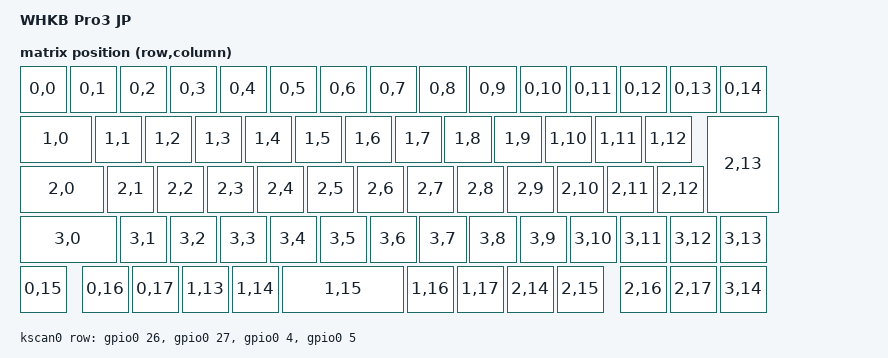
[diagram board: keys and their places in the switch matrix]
/*
 * Copyright (c) 2025 Stefan Sundin (4pplet)
 * SPDX-License-Identifier: MIT
 *
 * WHKB Pro3 JP variant - 69 keys
 *
 * NOTE: The matrix transform below is a PLACEHOLDER.
 * The actual RC(row, col) values need to be determined by probing the PCB
 * to find which row/column each key is connected to.
 *
 * The physical layout matches the HHKB JP layout from Pro2 JP.
 */

#include <dt-bindings/zmk/matrix_transform.h>
#include <physical_layouts.dtsi>

/ {
    model = "WHKB Pro3 JP";

    chosen {
        zmk,kscan = &kscan0;
        zmk,physical-layout = &physical_layout;
    };

    kscan0: kscan_0 {
        compatible = "zmk,kscan-topre-adc";
        status = "okay";

        /* Row drive pins - same as ANSI, JP uses same 4 rows */
        row-gpios = <&gpio0 26 GPIO_ACTIVE_HIGH>,   /* ROW0 */
                    <&gpio0 27 GPIO_ACTIVE_HIGH>,   /* ROW1 */
                    <&gpio0 4  GPIO_ACTIVE_HIGH>,   /* ROW2 */
                    <&gpio0 5  GPIO_ACTIVE_HIGH>;   /* ROW3 */

        /* Column select pins (address HC4051 muxes) */
        col-sel-gpios = <&gpio0 6  GPIO_ACTIVE_HIGH>,   /* COL_A */
                        <&gpio0 7  GPIO_ACTIVE_HIGH>,   /* COL_B */
                        <&gpio0 8  GPIO_ACTIVE_HIGH>;   /* COL_C */

        /* Mux enable pins - JP may need different mux configuration for extra keys */
        u1-en-gpios = <&gpio0 12 GPIO_ACTIVE_LOW>;  /* U1 enable (cols 0-7) */
        u2-en-gpios = <&gpio0 13 GPIO_ACTIVE_LOW>;  /* U2 enable (cols 8-14+) */

        /* OpAmp control */
        opamp-en-gpios = <&gpio0 14 GPIO_ACTIVE_HIGH>;
        discharge-gpios = <&gpio0 15 GPIO_ACTIVE_HIGH>;

        /* ADC sense input */
        io-channels = <&adc 0>;  /* AIN0 = P0.02 */

        /* Power control for switch board */
        power-gpios = <&gpio0 29 GPIO_ACTIVE_HIGH>;

        /* Sensing parameters */
        actuation-threshold-mv = <1000>;  /* mV threshold for key press */

        /* Timing parameters (microseconds) */
        row-drive-us = <20>;
        row-settle-us = <80>;
        opamp-settle-us = <22>;
        discharge-us = <7>;
    };

    /*
     * HHKB JP Layout - 69 keys
     * Matrix is 4 rows x 18 columns (or similar - needs PCB verification)
     *
     * TODO: Replace placeholder RC() values with actual matrix positions
     * determined by probing the Pro3 JP PCB.
     *
     * The placeholder below assumes a simple sequential layout which is
     * almost certainly WRONG. Each RC(row, col) must be mapped to the
     * actual physical connection on the PCB.
     */
    default_transform: keymap_transform_0 {
        compatible = "zmk,matrix-transform";
        columns = <18>;  /* JP has more columns than ANSI */
        rows = <4>;
        map = <
        /* Row 0: Esc  1    2    3    4    5    6    7    8    9    0    -    ^   Yen  Bksp (15 keys) */
        RC(0,0) RC(0,1) RC(0,2) RC(0,3) RC(0,4) RC(0,5) RC(0,6) RC(0,7) RC(0,8) RC(0,9) RC(0,10) RC(0,11) RC(0,12) RC(0,13) RC(0,14)
        /* Row 1: Tab  Q    W    E    R    T    Y    U    I    O    P    @    [ (13 keys, Enter spans rows) */
        RC(1,0) RC(1,1) RC(1,2) RC(1,3) RC(1,4) RC(1,5) RC(1,6) RC(1,7) RC(1,8) RC(1,9) RC(1,10) RC(1,11) RC(1,12)
        /* Row 2: Ctrl A    S    D    F    G    H    J    K    L    ;    :    ]   Enter (14 keys) */
        RC(2,0) RC(2,1) RC(2,2) RC(2,3) RC(2,4) RC(2,5) RC(2,6) RC(2,7) RC(2,8) RC(2,9) RC(2,10) RC(2,11) RC(2,12) RC(2,13)
        /* Row 3: Shift Z    X    C    V    B    N    M    ,    .    /    \   Shift Up (14 keys) */
        RC(3,0) RC(3,1) RC(3,2) RC(3,3) RC(3,4) RC(3,5) RC(3,6) RC(3,7) RC(3,8) RC(3,9) RC(3,10) RC(3,11) RC(3,12) RC(3,13)
        /* Row 4: Fn   Zen  Meta Mhen key  Space Henk Kana Meta Fn   Left Down Right (13 keys) */
        RC(0,15) RC(0,16) RC(0,17) RC(1,13) RC(1,14) RC(1,15) RC(1,16) RC(1,17) RC(2,14) RC(2,15) RC(2,16) RC(2,17) RC(3,14)
        >;
    };

    physical_layout: physical_layout_0 {
        compatible = "zmk,physical-layout";
        display-name = "HHKB JP";
        transform = <&default_transform>;
        keys = <
            /* Row 0: 15 keys (Esc through Backspace) */
            &key_physical_attrs 100 100 0   0   0 0 0
            &key_physical_attrs 100 100 100 0   0 0 0
            &key_physical_attrs 100 100 200 0   0 0 0
            &key_physical_attrs 100 100 300 0   0 0 0
            &key_physical_attrs 100 100 400 0   0 0 0
            &key_physical_attrs 100 100 500 0   0 0 0
            &key_physical_attrs 100 100 600 0   0 0 0
            &key_physical_attrs 100 100 700 0   0 0 0
            &key_physical_attrs 100 100 800 0   0 0 0
            &key_physical_attrs 100 100 900 0   0 0 0
            &key_physical_attrs 100 100 1000 0  0 0 0
            &key_physical_attrs 100 100 1100 0  0 0 0
            &key_physical_attrs 100 100 1200 0  0 0 0
            &key_physical_attrs 100 100 1300 0  0 0 0
            &key_physical_attrs 100 100 1400 0  0 0 0
            /* Row 1: 13 keys (Tab through [, Enter top is part of row 2) */
            &key_physical_attrs 150 100 0   100 0 0 0
            &key_physical_attrs 100 100 150 100 0 0 0
            &key_physical_attrs 100 100 250 100 0 0 0
            &key_physical_attrs 100 100 350 100 0 0 0
            &key_physical_attrs 100 100 450 100 0 0 0
            &key_physical_attrs 100 100 550 100 0 0 0
            &key_physical_attrs 100 100 650 100 0 0 0
            &key_physical_attrs 100 100 750 100 0 0 0
            &key_physical_attrs 100 100 850 100 0 0 0
            &key_physical_attrs 100 100 950 100 0 0 0
            &key_physical_attrs 100 100 1050 100 0 0 0
            &key_physical_attrs 100 100 1150 100 0 0 0
            &key_physical_attrs 100 100 1250 100 0 0 0
            /* Row 2: 14 keys (Ctrl through Enter - ISO-style vertical Enter) */
            &key_physical_attrs 175 100 0   200 0 0 0
            &key_physical_attrs 100 100 175 200 0 0 0
            &key_physical_attrs 100 100 275 200 0 0 0
            &key_physical_attrs 100 100 375 200 0 0 0
            &key_physical_attrs 100 100 475 200 0 0 0
            &key_physical_attrs 100 100 575 200 0 0 0
            &key_physical_attrs 100 100 675 200 0 0 0
            &key_physical_attrs 100 100 775 200 0 0 0
            &key_physical_attrs 100 100 875 200 0 0 0
            &key_physical_attrs 100 100 975 200 0 0 0
            &key_physical_attrs 100 100 1075 200 0 0 0
            &key_physical_attrs 100 100 1175 200 0 0 0
            &key_physical_attrs 100 100 1275 200 0 0 0
            &key_physical_attrs 150 200 1375 100 0 0 0
            /* Row 3: 14 keys (LShift 2u, 11 alpha keys, \, RShift, Up) */
            &key_physical_attrs 200 100 0    300 0 0 0   /* LShift w:2 */
            &key_physical_attrs 100 100 200  300 0 0 0   /* Z */
            &key_physical_attrs 100 100 300  300 0 0 0   /* X */
            &key_physical_attrs 100 100 400  300 0 0 0   /* C */
            &key_physical_attrs 100 100 500  300 0 0 0   /* V */
            &key_physical_attrs 100 100 600  300 0 0 0   /* B */
            &key_physical_attrs 100 100 700  300 0 0 0   /* N */
            &key_physical_attrs 100 100 800  300 0 0 0   /* M */
            &key_physical_attrs 100 100 900  300 0 0 0   /* , */
            &key_physical_attrs 100 100 1000 300 0 0 0   /* . */
            &key_physical_attrs 100 100 1100 300 0 0 0   /* / */
            &key_physical_attrs 100 100 1200 300 0 0 0   /* \ */
            &key_physical_attrs 100 100 1300 300 0 0 0   /* RShift */
            &key_physical_attrs 100 100 1400 300 0 0 0   /* Up arrow */
            /* Row 4: 13 keys - bottom row with arrow cluster (Left, Down, Right) */
            &key_physical_attrs 100 100 0    400 0 0 0   /* Fn */
            &key_physical_attrs 100 100 125  400 0 0 0   /* Zen */
            &key_physical_attrs 100 100 225  400 0 0 0   /* Meta */
            &key_physical_attrs 100 100 325  400 0 0 0   /* Muhen */
            &key_physical_attrs 100 100 425  400 0 0 0   /* key */
            &key_physical_attrs 250 100 525  400 0 0 0   /* Space w:2.5 */
            &key_physical_attrs 100 100 775  400 0 0 0   /* Henkan */
            &key_physical_attrs 100 100 875  400 0 0 0   /* Kana */
            &key_physical_attrs 100 100 975  400 0 0 0   /* Meta */
            &key_physical_attrs 100 100 1075 400 0 0 0   /* Fn */
            &key_physical_attrs 100 100 1200 400 0 0 0   /* Left */
            &key_physical_attrs 100 100 1300 400 0 0 0   /* Down */
            &key_physical_attrs 100 100 1400 400 0 0 0   /* Right */
        >;
    };
};

/* Link accelerometer wake to kscan */
&wakeup_trigger {
    linked-devices = <&kscan0>;
};
